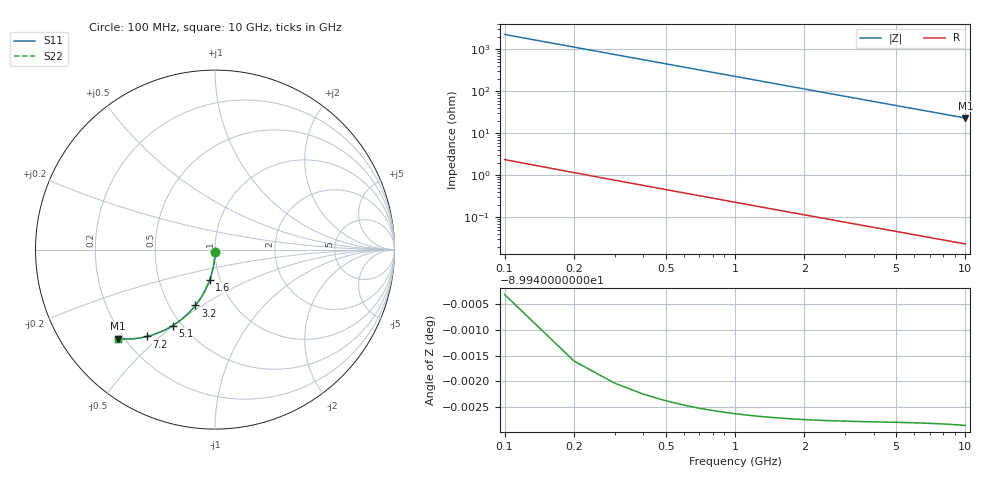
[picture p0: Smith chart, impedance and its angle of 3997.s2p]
# Hz S RI R 50.00
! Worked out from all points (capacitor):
!   100 points, 100 MHz to 10 GHz, reference 50 ohm
!   read as one part in shunt: C = 702 fF near 100 MHz
!   lowest |Z| = 23.1 ohm at 10 GHz (marker M1)
!   S11 on the Smith chart (normalised r, x): 100 MHz: 1.00, -0.02; 1.6 GHz: 0.89, -0.31; 3.2 GHz: 0.67, -0.47; 5.1 GHz: 0.45, -0.50; 7.2 GHz: 0.29, -0.45; 10 GHz: 0.18, -0.38
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1e8  -0.000131 -0.011  0.9999 -0.011  0.9999 -0.011  -0.000131 -0.011
2e8  -0.000507 -0.022  0.9995 -0.0221  0.9995 -0.0221  -0.000507 -0.022
3e8  -0.00113 -0.033  0.9989 -0.0331  0.9989 -0.0331  -0.00113 -0.033
4e8  -0.00198 -0.044  0.998 -0.0441  0.998 -0.0441  -0.00198 -0.044
5e8  -0.00308 -0.0549  0.9969 -0.055  0.9969 -0.055  -0.00308 -0.0549
6e8  -0.00442 -0.0658  0.9956 -0.0659  0.9956 -0.0659  -0.00442 -0.0658
7e8  -0.00599 -0.0766  0.994 -0.0767  0.994 -0.0767  -0.00599 -0.0766
9e8  -0.00983 -0.0981  0.9902 -0.0982  0.9902 -0.0982  -0.00983 -0.0981
1.2e9  -0.0173 -0.1296  0.9827 -0.1299  0.9827 -0.1299  -0.0173 -0.1296
1.6e9  -0.0302 -0.1703  0.9698 -0.1707  0.9698 -0.1707  -0.0302 -0.1703
1.8e9  -0.0378 -0.19  0.9622 -0.1904  0.9622 -0.1904  -0.0378 -0.19
2.1e9  -0.0506 -0.2185  0.9494 -0.2189  0.9494 -0.2189  -0.0506 -0.2185
2.4e9  -0.065 -0.2457  0.935 -0.2462  0.935 -0.2462  -0.065 -0.2457
2.8e9  -0.0861 -0.2798  0.9139 -0.2804  0.9139 -0.2804  -0.0861 -0.2798
3.2e9  -0.1094 -0.3113  0.8906 -0.3119  0.8906 -0.3119  -0.1094 -0.3113
3.4e9  -0.1216 -0.326  0.8784 -0.3267  0.8784 -0.3267  -0.1216 -0.326
4.2e9  -0.1738 -0.378  0.8262 -0.3789  0.8262 -0.3789  -0.1738 -0.378
5.1e9  -0.2359 -0.4235  0.7641 -0.4246  0.7641 -0.4246  -0.2359 -0.4235
6.7e9  -0.3464 -0.4746  0.6536 -0.476  0.6536 -0.476  -0.3464 -0.4746
7.2e9  -0.3793 -0.4839  0.6207 -0.4855  0.6207 -0.4855  -0.3793 -0.4839
8.4e9  -0.4533 -0.4964  0.5467 -0.4982  0.5467 -0.4982  -0.4533 -0.4964
1e10  -0.5395 -0.4968  0.4605 -0.499  0.4605 -0.499  -0.5395 -0.4968
